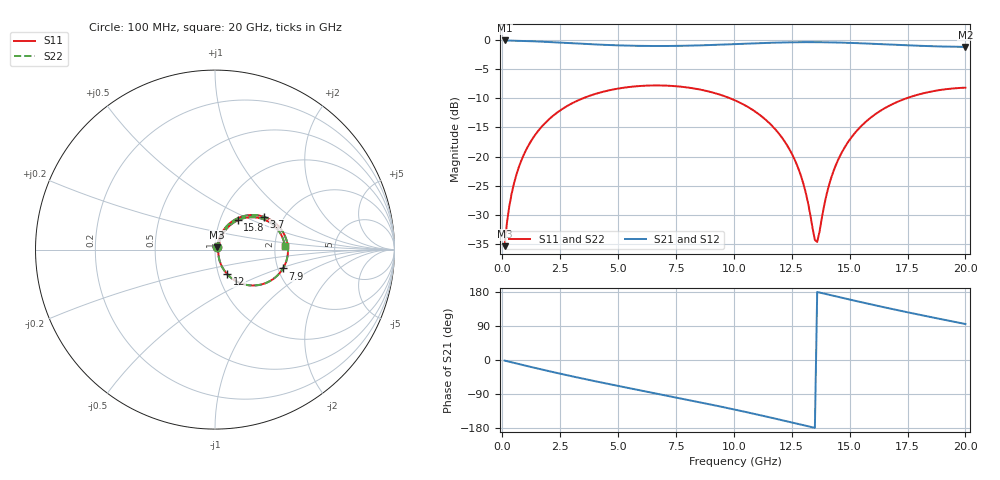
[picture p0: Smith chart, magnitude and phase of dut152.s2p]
! Touchstone file exported from HFSS 2026.1.0
!  File:  C:/ffzhzh/LocalFiles/Ansys_Project_Files/temp_train_TSV_RDL_152_1783052251_18316.aedt
!  Generated:  12:27:45 PM Jul  3, 2026
!  Design:  TSV_RDL
!  Project:  temp_train_TSV_RDL_152_1783052251_18316
! Variables:
!  h_bsmrdl = 5.88um
!  h_ox = 20um
!  h_rdl = 5um
!  h_sub = 55.05um
!  h_tmrdl = 5.91um
!  h_tsv = 55.05um
!  h_via = 3um
!  l_bsmrdl = 128.04um
!  l_sub = 4828.86um
!  l_tmrdl = 974.18um
!  m_sub = 200um
!  pitch = 48.06um
!  r_tsv = 7.02um
!  s_tmrdl = 10um
!  w_bsmrdl = 20.38um
!  w_sub = 500um
!  w_tmrdl = 28.96um
!  x_tsv_center1 = 988.66um
!  x_tsv_center2 = 1137.08um
!  x_tsv_center3 = 2140.22um
!  x_tsv_center4 = 2288.64um
!  x_tsv_center5 = 3291.78um
!  x_tsv_center6 = 3440.2um
# GHz S MA R 50.000000
! Terminal data exported
! Port[1] = TM_RDL1_1_T1
! Port[2] = TM_RDL5_1_T1
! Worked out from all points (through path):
!   200 points, 100 MHz to 20 GHz, reference 50 ohm
!   highest |S21| = -0.10 dB at 100 MHz (marker M1); lowest = -1.2 dB at 20 GHz (marker M2)
!   group delay of S21, straight-line fit = 36.7 ps
!   lowest |S11| = -35.4 dB at 100 MHz (marker M3), VSWR 1.03, Z = 51.2 + j1.25 ohm
!   |S11| at or under -10 dB: start of sweep to 3.494 GHz; 9.827 GHz to 17.47 GHz (7.638 GHz wide, 56 % of centre)
!   |S22| runs from -35.4 to -7.8 dB; largest |S21 - S12| = 4e-14
!   S11 on the Smith chart (normalised r, x): 100 MHz: 1.02, +0.03; 3.7 GHz: 1.58, +0.65; 7.9 GHz: 2.13, -0.53; 12 GHz: 1.10, -0.31; 15.8 GHz: 1.21, +0.41; 20 GHz: 2.27, +0.11
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0.1  0.01705 45.8  0.9884 -1.6  0.9884 -1.6  0.01705 45.8
! Gamma 0 0 0 0
! Port Impedance 50 0 50 0
0.3  0.03718 64.8  0.9863 -4.6  0.9863 -4.6  0.03718 64.8
0.5  0.05827 68.7  0.9845 -7.5  0.9845 -7.5  0.05827 68.7
1.1  0.1213 66.1  0.9768 -16.4  0.9768 -16.4  0.1213 66.1
2.1  0.2158 54.1  0.9565 -30.6  0.9565 -30.6  0.2158 54.1
3.5  0.3166 36.4  0.9241 -49.4  0.9241 -49.4  0.3166 36.4
3.7  0.3278 33.9  0.9199 -52.0  0.9199 -52.0  0.3278 33.9
6.8  0.4067 -2.7  0.8857 -90.3  0.8857 -90.3  0.4067 -2.7
7.9  0.3931 -15.5  0.8906 -103.7  0.8906 -103.7  0.3931 -15.5
10.1  0.2999 -41.7  0.9207 -131.6  0.9207 -131.6  0.2999 -41.8
12  0.1524 -63.6  0.949 -157.7  0.949 -157.7  0.1524 -63.8
12.9  0.06816 -67.5  0.9553 -170.5  0.9553 -170.5  0.06808 -67.8
13.4  0.02437 -41.7  0.9558 -177.7  0.9558 -177.7  0.02411 -42.3
13.5  0.01924 -20.4  0.9556 -179.1  0.9556 -179.1  0.0189 -20.9
13.6  0.01854 8.6  0.9553 179.5  0.9553 179.5  0.01817 8.7
14  0.04683 58.8  0.9533 173.7  0.9533 173.7  0.04667 59.3
14.4  0.08397 63.6  0.9499 168.0  0.9499 168.0  0.08386 63.9
15  0.1391 60.4  0.9424 159.5  0.9424 159.5  0.139 60.6
15.8  0.2067 52.1  0.9293 148.5  0.9293 148.5  0.2067 52.2
16.7  0.2717 41.6  0.9125 136.4  0.9125 136.4  0.2717 41.7
18.3  0.3529 22.7  0.8855 115.8  0.8855 115.8  0.3529 22.8
20  0.3892 3.1  0.8708 95.0  0.8708 95.0  0.3892 3.2
